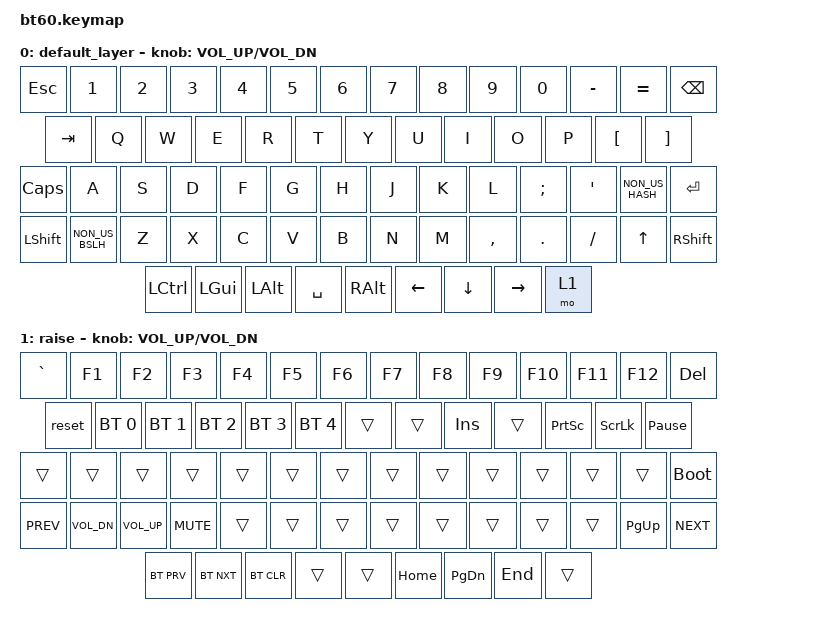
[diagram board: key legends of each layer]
#include <behaviors.dtsi>
#include <dt-bindings/zmk/keys.h>
#include <dt-bindings/zmk/bt.h>

/ {
	keymap {
		compatible = "zmk,keymap";

		default_layer {
				// ------------------------------------------------------------------------------------------
				// | ESC |  1  |  2  |  3  |  4  |  5  |  6  |  7  |  8  |  9  |  0  |  -  |  =  |   BKSP   |
				// | TAB  |  Q  |  W  |  E  |  R  |  T  |  Y  |  U  |  I  |  O  |  P  |  [  |  ]  |   "|"   |
				// | CAPS  |  A  |  S  |  D  |  F  |  G  |  H  |  J  |  K  |  L  |  ;  |  '  |     ENTER    |
				// |  SHIFT    |  Z  |  X  |  C  |  V  |  B  |  N  |  M  |  ,  |  .  | /   | SHFT | UP | 1  |
				// |  CTL  |  WIN  |  ALT  |            SPACE              | ALT | CTRL | LEFT | DOWN | RIGHT |
				// ------------------------------------------------------------------------------------------
			bindings = <
				&kp ESC &kp N1 &kp N2 &kp N3 &kp N4 &kp N5 &kp N6 &kp N7 &kp  N8   &kp  N9 &kp  N0  &kp MINUS &kp EQUAL &kp BSPC
				&kp TAB  &kp Q  &kp W  &kp E  &kp R  &kp T  &kp Y  &kp U  &kp  I    &kp  O  &kp  P   &kp LBKT &kp RBKT
				&kp CLCK  &kp A  &kp S  &kp D  &kp F  &kp G  &kp H  &kp J  &kp  K    &kp  L  &kp SEMI &kp SQT &kp NON_US_HASH &kp RET
				&kp LSHFT  &kp NON_US_BSLH &kp Z  &kp X  &kp C  &kp V  &kp B  &kp N  &kp M  &kp COMMA &kp DOT &kp FSLH  &kp UP  &kp RSHFT
				&kp LCTRL &kp LGUI &kp LALT            &kp SPACE                          &kp RALT  &kp LEFT &kp DOWN &kp RIGHT &mo 1
			>;
			sensor-bindings = <&inc_dec_kp C_VOL_UP C_VOL_DN>;
		};
		raise {
			bindings = <
				&kp GRAVE &kp F1 &kp F2 &kp F3 &kp F4 &kp F5 &kp F6 &kp F7 &kp  F8   &kp  F9 &kp  F10  &kp F11 &kp F12   &kp DEL
				&reset &bt BT_SEL 0 &bt BT_SEL 1 &bt BT_SEL 2 &bt BT_SEL 3 &bt BT_SEL 4 &trans &trans &kp INS &trans &kp PSCRN &kp SLCK &kp PAUSE_BREAK
				&trans    &trans &trans &trans &trans &trans &trans &trans &trans &trans &trans &trans  &trans &bootloader
				&kp C_PREV &kp C_VOL_DN &kp C_VOL_UP &kp C_MUTE &trans &trans &trans &trans &trans &trans &trans &trans &kp PG_UP &kp C_NEXT
				&bt BT_PRV &bt BT_NXT &bt BT_CLR                       &trans                      &trans  &kp HOME &kp PG_DN &kp END &trans 
			>;
			sensor-bindings = <&inc_dec_kp C_VOL_UP C_VOL_DN>;
		};
	};
};
